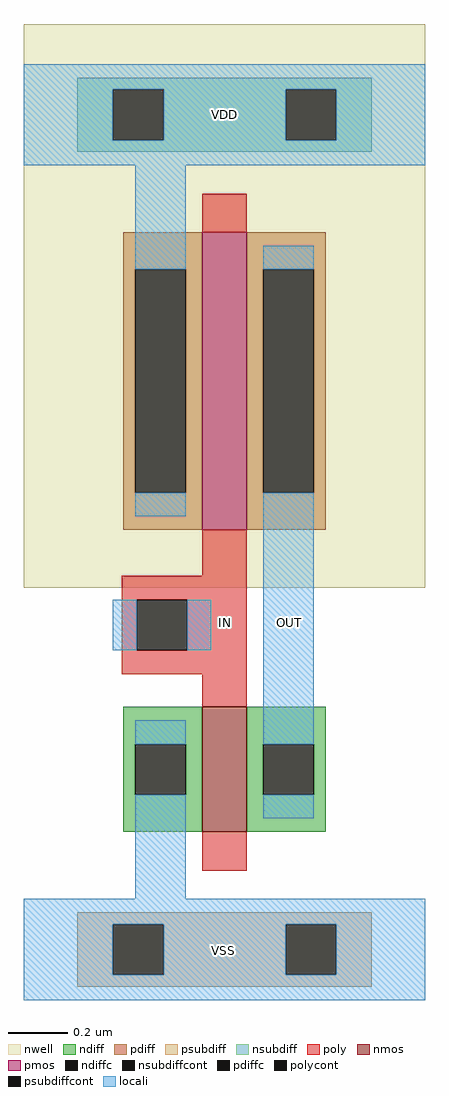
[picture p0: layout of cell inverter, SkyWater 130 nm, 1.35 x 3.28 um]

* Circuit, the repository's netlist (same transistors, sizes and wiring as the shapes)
* NGSPICE file created from inverter.ext - technology: sky130A

.subckt inverter VDD IN OUT VSS
X0 OUT IN VSS VSS sky130_fd_pr__nfet_01v8 ad=0.1113 pd=1.37 as=0.1113 ps=1.37 w=0.42 l=0.15
X1 OUT IN VDD VDD sky130_fd_pr__pfet_01v8 ad=0.265 pd=2.53 as=0.265 ps=2.53 w=1 l=0.15
.ends

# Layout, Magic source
magic
tech sky130A
magscale 1 2
<< nwell >>
rect -120 164 150 543
<< nmos >>
rect 0 0 30 84
<< pmos >>
rect 0 203 30 403
<< ndiff >>
rect -53 59 0 84
rect -53 25 -45 59
rect -11 25 0 59
rect -53 0 0 25
rect 30 59 83 84
rect 30 25 41 59
rect 75 25 83 59
rect 30 0 83 25
<< pdiff >>
rect -53 378 0 403
rect -53 228 -45 378
rect -11 228 0 378
rect -53 203 0 228
rect 30 378 83 403
rect 30 228 41 378
rect 75 228 83 378
rect 30 203 83 228
<< ndiffc >>
rect -45 25 -11 59
rect 41 25 75 59
<< pdiffc >>
rect -45 228 -11 378
rect 41 228 75 378
<< psubdiff >>
rect -84 -62 114 -54
rect -84 -96 -60 -62
rect -26 -96 56 -62
rect 90 -96 114 -62
rect -84 -104 114 -96
<< nsubdiff >>
rect -84 499 114 507
rect -84 465 -60 499
rect -26 465 56 499
rect 90 465 114 499
rect -84 457 114 465
<< psubdiffcont >>
rect -60 -96 -26 -62
rect 56 -96 90 -62
<< nsubdiffcont >>
rect -60 465 -26 499
rect 56 465 90 499
<< poly >>
rect 0 403 30 429
rect 0 172 30 203
rect -54 156 30 172
rect -54 122 -44 156
rect -10 122 30 156
rect -54 106 30 122
rect 0 84 30 106
rect 0 -26 30 0
<< polycont >>
rect -44 122 -10 156
<< locali >>
rect -120 499 150 516
rect -120 465 -60 499
rect -26 465 56 499
rect 90 465 150 499
rect -120 448 150 465
rect -45 378 -11 448
rect -45 212 -11 228
rect 41 378 75 394
rect -60 122 -44 156
rect -10 122 6 156
rect -45 59 -11 75
rect -45 -45 -11 25
rect 41 59 75 228
rect 41 9 75 25
rect -120 -62 150 -45
rect -120 -96 -60 -62
rect -26 -96 56 -62
rect 90 -96 150 -62
rect -120 -113 150 -96
<< labels >>
rlabel locali 15 482 15 482 0 VDD
port 1 nsew
rlabel poly 15 140 16 141 0 IN
port 2 nsew
rlabel locali 58 140 59 141 0 OUT
port 3 nsew
rlabel locali 14 -80 15 -79 0 VSS
port 4 nsew
<< end >>
